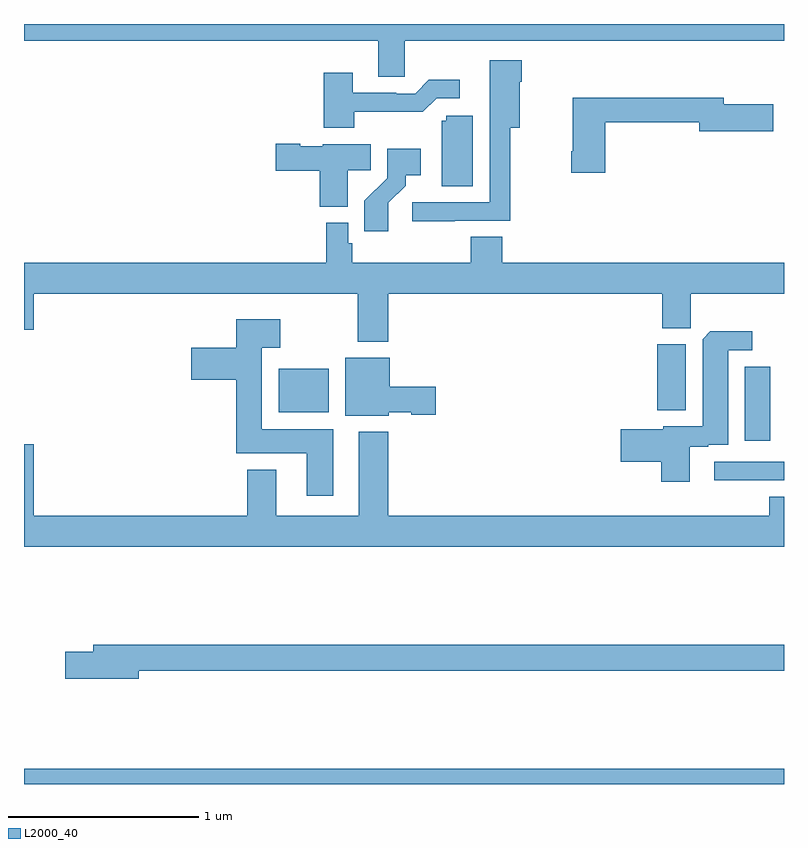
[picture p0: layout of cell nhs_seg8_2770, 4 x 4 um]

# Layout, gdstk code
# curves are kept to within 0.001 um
import gdstk
lib = gdstk.Library(unit=1e-6, precision=1e-09)
def R(c, l, rs):  # rectangles x0, y0, x1, y1
    for r in rs: c.add(gdstk.rectangle(r[:2], r[2:], *l))
def P(c, l, *ps):  # polygons
    for p in ps: c.add(gdstk.Polygon(p, *l))
L2000_40 = (2000, 40)

nhs_seg8_2770 = lib.new_cell('nhs_seg8_2770')
R(nhs_seg8_2770, L2000_40, [(285,1133.9,289,1133.98), (288.633,1135.5,289,1135.596), (288.794,1135.706,288.928,1136.095), (286.34,1135.856,286.603,1136.086), (288.332,1135.867,288.484,1136.214)])
P(nhs_seg8_2770, L2000_40, [(287.004,1137.812),(289,1137.812),(289,1137.9),(285,1137.9),(285,1137.812),(286.865,1137.812),(286.865,1137.622),(287.004,1137.622)],
  [(287.267,1136.865),(287.56,1136.865),(287.56,1137.353),(287.608,1137.353),(287.608,1137.596),(287.621,1137.596),(287.621,1137.709),(287.45,1137.709),(287.45,1137.457),(287.451,1137.457),(287.451,1136.961),(287.043,1136.961),(287.043,1136.863),(287.267,1136.863)],
  [(286.737,1137.438),(287.099,1137.437),(287.172,1137.51),(287.293,1137.51),(287.293,1137.607),(287.131,1137.607),(287.058,1137.534),(286.958,1137.534),(286.958,1137.537),(286.729,1137.537),(286.729,1137.643),(286.577,1137.643),(286.577,1137.353),(286.737,1137.353)],
  [(288.059,1137.382),(288.554,1137.382),(288.554,1137.335),(288.943,1137.335),(288.943,1137.477),(288.682,1137.477),(288.682,1137.511),(287.888,1137.511),(287.888,1137.229),(287.881,1137.229),(287.881,1137.117),(288.059,1137.117)],
  [(287.362,1137.417),(287.223,1137.417),(287.223,1137.39),(287.198,1137.39),(287.198,1137.046),(287.362,1137.046)],
  [(286.705,1137.13),(286.826,1137.13),(286.826,1137.268),(286.572,1137.268),(286.572,1137.256),(286.455,1137.256),(286.455,1137.269),(286.326,1137.269),(286.326,1137.127),(286.556,1137.127),(286.556,1136.939),(286.705,1136.939)],
  [(286.918,1136.959),(287.008,1137.049),(287.008,1137.104),(287.089,1137.104),(287.089,1137.244),(286.911,1137.244),(286.911,1137.089),(286.792,1136.97),(286.792,1136.808),(286.918,1136.808)],
  [(286.727,1136.745),(286.707,1136.745),(286.707,1136.854),(286.591,1136.854),(286.591,1136.644),(285,1136.644),(285,1136.292),(285.052,1136.292),(285.052,1136.48),(286.756,1136.48),(286.756,1136.228),(286.916,1136.228),(286.916,1136.48),(288.359,1136.48),(288.359,1136.299),(288.509,1136.299),(288.509,1136.48),(289,1136.48),(289,1136.644),(287.516,1136.644),(287.516,1136.78),(287.351,1136.78),(287.351,1136.644),(286.727,1136.644)],
  [(286.627,1135.768),(286.252,1135.768),(286.252,1136.195),(286.348,1136.195),(286.348,1136.347),(286.118,1136.347),(286.118,1136.197),(285.879,1136.197),(285.879,1136.027),(286.118,1136.027),(286.118,1135.64),(286.487,1135.64),(286.487,1135.416),(286.627,1135.416)],
  [(288.505,1135.674),(288.602,1135.674),(288.602,1135.686),(288.706,1135.686),(288.706,1136.184),(288.832,1136.184),(288.832,1136.282),(288.613,1136.282),(288.572,1136.24),(288.572,1135.782),(288.365,1135.782),(288.365,1135.766),(288.141,1135.766),(288.141,1135.595),(288.353,1135.595),(288.353,1135.491),(288.505,1135.491)],
  [(286.92,1135.856),(287.037,1135.856),(287.037,1135.844),(287.167,1135.844),(287.167,1135.991),(286.924,1135.991),(286.924,1136.143),(286.691,1136.143),(286.691,1135.838),(286.92,1135.838)],
  [(289,1135.411),(288.923,1135.411),(288.923,1135.312),(286.916,1135.312),(286.916,1135.753),(286.763,1135.753),(286.763,1135.312),(286.327,1135.312),(286.327,1135.555),(286.175,1135.555),(286.175,1135.312),(285.052,1135.312),(285.052,1135.687),(285,1135.687),(285,1135.148),(289,1135.148)],
  [(285.604,1134.496),(289,1134.496),(289,1134.632),(285.365,1134.632),(285.365,1134.596),(285.216,1134.596),(285.216,1134.454),(285.604,1134.454)])

lib.write_gds('nhs_seg8_2770.gds')
